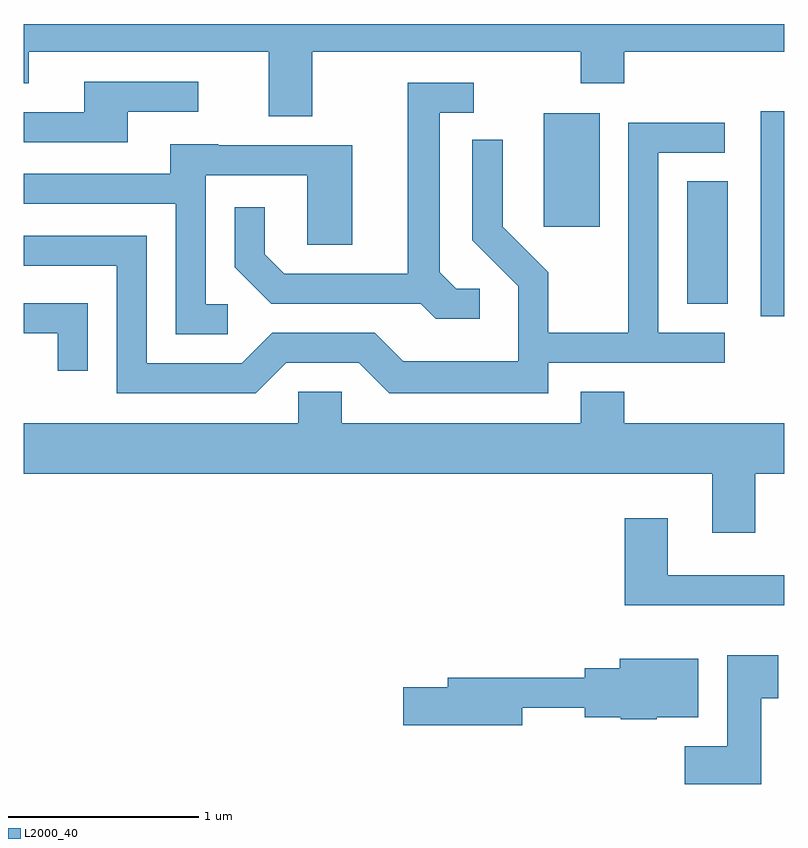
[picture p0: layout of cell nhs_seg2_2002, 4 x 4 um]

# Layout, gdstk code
import gdstk
lib = gdstk.Library(unit=1e-6, precision=1e-09)
def R(c, l, rs):  # rectangles x0, y0, x1, y1
    for r in rs: c.add(gdstk.rectangle(r[:2], r[2:], *l))
def P(c, l, *ps):  # polygons
    for p in ps: c.add(gdstk.Polygon(p, *l))
L2000_40 = (2000, 40)

nhs_seg2_2002 = lib.new_cell('nhs_seg2_2002')
R(nhs_seg2_2002, L2000_40, [(247.486,1040.266,247.611,1041.344), (247.101,1040.331,247.314,1040.974), (246.346,1040.736,246.639,1041.334)])
P(nhs_seg2_2002, L2000_40, [(245.129,1041.656),(246.541,1041.656),(246.541,1041.491),(246.769,1041.491),(246.769,1041.656),(247.611,1041.656),(247.611,1041.802),(243.611,1041.802),(243.611,1041.491),(243.639,1041.491),(243.639,1041.656),(244.901,1041.656),(244.901,1041.316),(245.129,1041.316)],
  [(244.159,1041.341),(244.528,1041.341),(244.528,1041.499),(243.931,1041.499),(243.931,1041.339),(243.611,1041.339),(243.611,1041.181),(244.159,1041.181)],
  [(246.008,1040.409),(245.887,1040.409),(245.799,1040.497),(245.799,1041.336),(245.978,1041.336),(245.978,1041.494),(245.631,1041.494),(245.631,1040.489),(244.982,1040.489),(244.879,1040.592),(244.879,1040.838),(244.721,1040.838),(244.721,1040.524),(244.914,1040.331),(245.699,1040.331),(245.779,1040.251),(246.008,1040.251)],
  [(244.992,1040.021),(245.374,1040.021),(245.534,1039.861),(246.369,1039.861),(246.369,1040.021),(247.298,1040.021),(247.298,1040.179),(246.949,1040.179),(246.949,1041.126),(247.298,1041.126),(247.298,1041.284),(246.791,1041.284),(246.791,1040.179),(246.369,1040.179),(246.369,1040.497),(246.129,1040.737),(246.129,1041.193),(245.971,1041.193),(245.971,1040.664),(246.211,1040.424),(246.211,1040.029),(245.607,1040.029),(245.457,1040.179),(244.919,1040.179),(244.759,1040.019),(244.259,1040.019),(244.259,1040.689),(243.611,1040.689),(243.611,1040.531),(244.101,1040.531),(244.101,1039.861),(244.832,1039.861)],
  [(244.683,1040.329),(244.569,1040.329),(244.569,1041.006),(245.101,1041.006),(245.101,1040.641),(245.339,1040.641),(245.339,1041.164),(244.635,1041.164),(244.635,1041.169),(244.381,1041.169),(244.381,1041.014),(243.611,1041.014),(243.611,1040.856),(244.411,1040.856),(244.411,1040.171),(244.683,1040.171)],
  [(243.949,1040.334),(243.611,1040.334),(243.611,1040.176),(243.791,1040.176),(243.791,1039.978),(243.949,1039.978)],
  [(247.459,1039.436),(247.611,1039.436),(247.611,1039.704),(246.769,1039.704),(246.769,1039.869),(246.541,1039.869),(246.541,1039.704),(245.284,1039.704),(245.284,1039.869),(245.056,1039.869),(245.056,1039.704),(243.611,1039.704),(243.611,1039.436),(247.231,1039.436),(247.231,1039.126),(247.459,1039.126)],
  [(247.611,1038.904),(246.999,1038.904),(246.999,1039.204),(246.771,1039.204),(246.771,1038.746),(247.611,1038.746)],
  [(247.489,1038.256),(247.579,1038.256),(247.579,1038.484),(247.311,1038.484),(247.311,1038.004),(247.086,1038.004),(247.086,1037.806),(247.489,1037.806)],
  [(246.234,1038.206),(246.561,1038.206),(246.561,1038.156),(246.75,1038.156),(246.75,1038.146),(246.94,1038.146),(246.94,1038.156),(247.159,1038.156),(247.159,1038.464),(246.746,1038.464),(246.746,1038.414),(246.561,1038.414),(246.561,1038.364),(245.841,1038.364),(245.841,1038.314),(245.606,1038.314),(245.606,1038.116),(246.234,1038.116)])

lib.write_gds('nhs_seg2_2002.gds')
